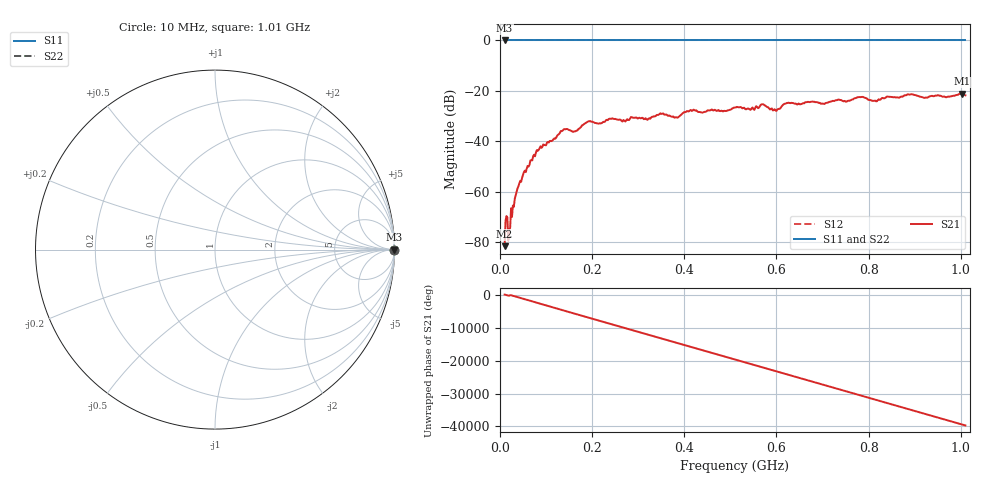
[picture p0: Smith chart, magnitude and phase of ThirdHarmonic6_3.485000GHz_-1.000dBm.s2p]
! 8/17/2025 11:20:42 AM
! C:\ANRITSUVNA\TEMP\TEMP.S2P
! CHANNEL.1
! TR.MEASUREMENT
! RAW.DATA
! RF.CORRECTION.OFF
! AVERAGING.OFF
! IF.BANDWIDTH: 5KHZ
! SWEEPTYPE:  FREQ.SWEEP(Linear)
! Reference Plane Port Info
! PORT:  PORT1  PORT2
! DISTANCE:  0  m  0  m
! TIME:  0  s  0  s
! PHASE.OFFSET:  0  deg.  0  deg.
! LOSS:  0  dB  0  dB
! REF.LOSS:  0  dB  0  dB
! REF.FREQ:  0  Hz  0  Hz
! Power Info
! POWER:  -20  dBm  -20  dBm
! EFF.POWER:  -20  dBm  -20  dBm
! SOURCE.ATTEN:  0  dB  0  dB
! TEST.ATTEN:  0  dB  0  dB
# GHZ S RI R 50.0
! FREQ.GHZ  S11RE  S11IM  S21RE  S21IM  S12RE  S12IM  S22RE  S22IM
!; PortSelection: Port_12
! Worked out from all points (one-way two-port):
!   501 points, 10 MHz to 1.01 GHz, reference 50 ohm
!   highest |S21| = -21.05 dB at 1.002 GHz (marker M1); lowest = -81.5 dB at 10 MHz (marker M2)
!   lowest |S11| = 0.0 dB at 10 MHz (marker M3)
!   |S11| at or under -10 dB: nowhere
!   |S22| runs from 0.0 to 0.0 dB; largest |S21 - S12| = 1.1
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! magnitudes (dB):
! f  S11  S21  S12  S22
! 10 MHz  0.0  -81.5  0.0  0.0
! 16 MHz  0.0  -70.1  0.0  0.0
! 22 MHz  0.0  -74.3  0.0  0.0
! 28 MHz  0.0  -65.4  0.0  0.0
! 40 MHz  0.0  -57.8  0.0  0.0
! 76 MHz  0.0  -45.9  0.0  0.0
! 136 MHz  0.0  -35.7  0.0  0.0
! 162 MHz  0.0  -36.0  0.0  0.0
! 178 MHz  0.0  -33.6  0.0  0.0
! 192 MHz  0.0  -32.0  0.0  0.0
! 322 MHz  0.0  -31.0  0.0  0.0
! 344 MHz  0.0  -29.5  0.0  0.0
! 382 MHz  0.0  -30.4  0.0  0.0
! 416 MHz  0.0  -27.9  0.0  0.0
! 510 MHz  0.0  -26.6  0.0  0.0
! 570 MHz  0.0  -25.3  0.0  0.0
! 596 MHz  0.0  -27.2  0.0  0.0
! 622 MHz  0.0  -24.8  0.0  0.0
! 678 MHz  0.0  -24.2  0.0  0.0
! 844 MHz  0.0  -22.3  0.0  0.0
! 1.002 GHz  0.0  -21.1  0.0  0.0
! 1.01 GHz  0.0  -21.7  0.0  0.0
